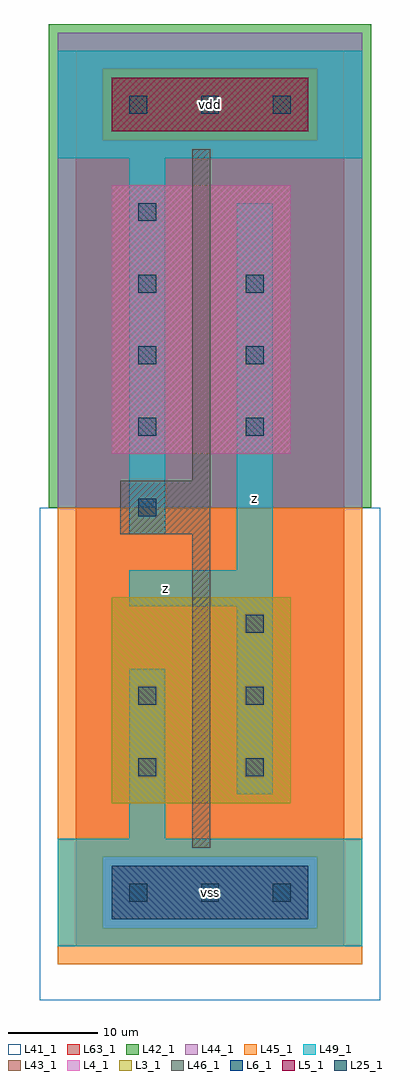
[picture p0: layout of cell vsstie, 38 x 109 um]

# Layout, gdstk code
import gdstk
lib = gdstk.Library(unit=1e-6, precision=1e-09)
def R(c, l, rs):  # rectangles x0, y0, x1, y1
    for r in rs: c.add(gdstk.rectangle(r[:2], r[2:], *l))
def A(c, l, x, y, w, h, nx, ny, dx, dy):  # array of equal rectangles
    R(c, l, [(x+i*dx, y+j*dy, x+i*dx+w, y+j*dy+h) for i in range(nx) for j in range(ny)])
L3_1 = (3, 1)
L4_1 = (4, 1)
L5_1 = (5, 1)
L6_1 = (6, 1)
L25_1 = (25, 1)
L41_1 = (41, 1)
L42_1 = (42, 1)
L43_1 = (43, 1)
L44_1 = (44, 1)
L45_1 = (45, 1)
L46_1 = (46, 1)
L49_1 = (49, 1)
L63_1 = (63, 1)

vsstie = lib.new_cell('vsstie')
R(vsstie, L3_1, [(4,16,24,39)])
R(vsstie, L4_1, [(4,55,24,85)])
R(vsstie, L5_1, [(4,91,26,97)])
R(vsstie, L6_1, [(4,3,26,9)])
A(vsstie, L25_1, 6, 5, 2, 2, 3, 2, 8, 88)
A(vsstie, L25_1, 19, 19, 2, 2, 1, 3, 0, 8)
A(vsstie, L25_1, 7, 57, 2, 2, 1, 4, 0, 8)
A(vsstie, L25_1, 19, 57, 2, 2, 1, 3, 0, 8)
R(vsstie, L25_1, [(7,19,9,21), (7,27,9,29), (7,48,9,50)])
R(vsstie, L41_1, [(-4,-6,34,49), (-3,-3,33,49)])
R(vsstie, L42_1, [(-3,49,33,103)])
R(vsstie, L43_1, [(4,3,26,9), (4,16,24,39), (4,55,24,85), (4,91,26,97)])
R(vsstie, L44_1, [(3,2,27,10), (-2,49,32,90), (-2,90,3,98), (27,90,32,98), (-2,98,32,102)])
R(vsstie, L45_1, [(-2,-2,32,2), (-2,2,3,10), (27,2,32,10), (-2,10,32,49), (3,90,27,98)])
R(vsstie, L46_1, [(13,11,15,46), (5,46,15,52), (13,52,15,89)])
R(vsstie, L49_1, [(-2,0,32,12), (6,12,10,31), (18,17,22,38), (6,38,22,42), (18,42,22,83), (6,46,10,88), (-2,88,32,100)])
R(vsstie, L63_1, [(0,0,30,100)])
vsstie.add(gdstk.Label('z', (10,40), layer=49, texttype=1))
vsstie.add(gdstk.Label('z', (10,40), layer=49, texttype=1))
vsstie.add(gdstk.Label('vss', (15,6), layer=49, texttype=1))
vsstie.add(gdstk.Label('vss', (15,6), layer=49, texttype=1))
vsstie.add(gdstk.Label('z', (20,50), layer=49, texttype=1))
vsstie.add(gdstk.Label('z', (20,50), layer=49, texttype=1))
vsstie.add(gdstk.Label('vdd', (15,94), layer=49, texttype=1))
vsstie.add(gdstk.Label('vdd', (15,94), layer=49, texttype=1))

lib.write_gds('vsstie.gds')
